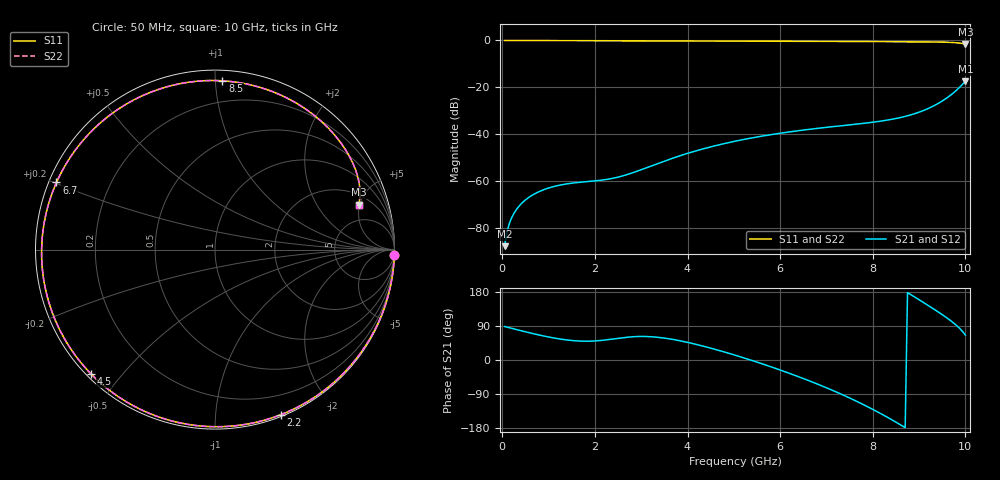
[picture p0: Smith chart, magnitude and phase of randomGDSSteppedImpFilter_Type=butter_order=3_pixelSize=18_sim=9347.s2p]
! freq	dB(S11)	phase(S11)	dB(S12)	phase(S12)
!  dB(S21)	phase(S21)	dB(S22)	phase(S22)
!S-par simulation data
#  GHz  S  DB  R 50
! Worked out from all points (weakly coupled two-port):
!   200 points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, 50 MHz to 10 GHz, reference 50 ohm
!   highest |S21| = -17.38 dB at 10 GHz (marker M1); lowest = -87.6 dB at 50 MHz (marker M2)
!   lowest |S11| = -1.5 dB at 10 GHz (marker M3), VSWR 11.41, Z = 144 + j244 ohm
!   |S11| at or under -10 dB: nowhere
!   |S22| runs from -1.5 to 0.0 dB; largest |S21 - S12| = 0
!   S11 on the Smith chart (normalised r, x): 50 MHz: 1, -71; 2.2 GHz: 0.02, -1.47; 4.5 GHz: 0.01, -0.41; 6.7 GHz: 0.02, +0.20; 8.5 GHz: 0.06, +1.04; 10 GHz: 2.88, +4.88
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0.05  -0.00 -1.6  -87.65 88.4  -87.65 88.4  -0.00 -1.6
0.1  -0.00 -3.2  -81.63 86.8  -81.63 86.8  -0.00 -3.2
0.25  -0.01 -8.0  -73.73 82.0  -73.73 82.0  -0.01 -8.0
0.35  -0.01 -11.2  -70.88 78.9  -70.88 78.9  -0.01 -11.2
0.65  -0.03 -20.6  -65.88 70.0  -65.88 70.0  -0.03 -20.6
1.1  -0.04 -34.7  -62.29 58.4  -62.29 58.4  -0.04 -34.7
1.75  -0.07 -54.7  -60.28 49.6  -60.28 49.6  -0.07 -54.7
2.2  -0.09 -68.3  -59.37 52.4  -59.37 52.4  -0.09 -68.3
2.8  -0.11 -86.0  -56.47 61.2  -56.47 61.2  -0.11 -86.0
3.4  -0.13 -103.4  -52.12 59.3  -52.12 59.3  -0.13 -103.4
4.5  -0.19 -135.0  -45.34 31.3  -45.34 31.3  -0.19 -135.0
5.05  -0.23 -151.0  -42.84 11.9  -42.84 11.9  -0.23 -151.0
5.9  -0.29 -176.8  -39.83 -22.1  -39.83 -22.1  -0.29 -176.8
6.7  -0.36 157.0  -37.69 -58.4  -37.69 -58.4  -0.36 157.0
7.15  -0.40 141.2  -36.70 -81.1  -36.70 -81.1  -0.40 141.1
7.65  -0.45 122.4  -35.65 -108.9  -35.65 -108.9  -0.45 122.3
8.35  -0.51 93.9  -33.82 -153.5  -33.82 -153.5  -0.51 93.9
8.5  -0.52 87.5  -33.26 -164.0  -33.26 -164.0  -0.53 87.4
8.95  -0.57 67.7  -30.90 162.9  -30.90 162.9  -0.58 67.6
9.35  -0.65 49.4  -27.51 131.9  -27.51 131.9  -0.66 49.3
9.75  -0.90 30.0  -22.21 97.2  -22.21 97.2  -0.90 29.9
10  -1.53 17.4  -17.38 65.8  -17.38 65.8  -1.53 17.3
